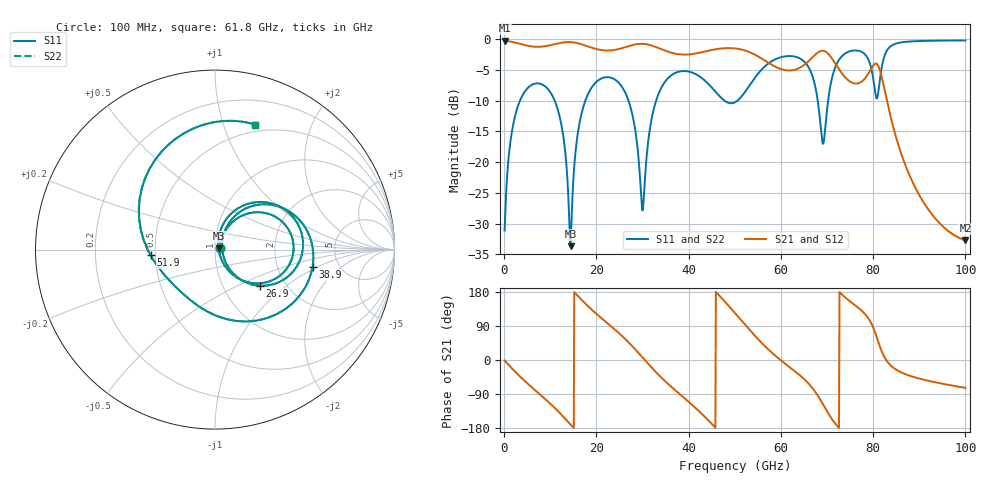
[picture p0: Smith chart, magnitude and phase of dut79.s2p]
! Touchstone file exported from HFSS 2026.1.0
!  File:  C:/ffzhzh/LocalFiles/Ansys_Project_Files/temp_train_TSV_RDL_79_1783628966_33328.aedt
!  Generated:  04:37:04 AM Jul 10, 2026
!  Design:  TSV_RDL
!  Project:  temp_train_TSV_RDL_79_1783628966_33328
! Variables:
!  h_bsmrdl = 2.93um
!  h_ox = 20um
!  h_rdl = 5um
!  h_sub = 85.85um
!  h_tmrdl = 2.94um
!  h_tsv = 85.85um
!  h_via = 3um
!  l_bsmrdl = 584.94um
!  l_sub = 3473.23um
!  l_tmrdl = 307.35um
!  m_sub = 200um
!  pitch = 41.18um
!  r_tsv = 14.24um
!  s_tmrdl = 10um
!  w_bsmrdl = 14.1um
!  w_sub = 500um
!  w_tmrdl = 15.57um
!  x_tsv_center1 = 315.135um
!  x_tsv_center2 = 914.175um
!  x_tsv_center3 = 1237.095um
!  x_tsv_center4 = 1836.135um
!  x_tsv_center5 = 2159.055um
!  x_tsv_center6 = 2758.095um
# GHz S MA R 50.000000
! Terminal data exported
! Port[1] = TM_RDL1_1_T1
! Port[2] = TM_RDL5_1_T1
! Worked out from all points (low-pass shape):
!   1000 points, 100 MHz to 100 GHz, reference 50 ohm
!   highest |S21| = -0.22 dB at 100 MHz (marker M1); lowest = -32.7 dB at 100 GHz (marker M2)
!   |S21| within 3 dB of the highest: start of sweep to 56.02 GHz; 66.46 GHz to 71.16 GHz (4.699 GHz wide, 6.83 % of centre)
!   lowest |S11| = -33.7 dB at 14.4 GHz (marker M3), VSWR 1.04, Z = 52 + j0.68 ohm
!   |S11| at or under -10 dB: start of sweep to 3.424 GHz; 10.96 GHz to 17.59 GHz (6.633 GHz wide, 46.5 % of centre); 26.97 GHz to 32.94 GHz (5.972 GHz wide, 19.9 % of centre) (the widest 3 of 5)
!   |S22| runs from -33.9 to -0.2 dB; largest |S21 - S12| = 1.6e-14
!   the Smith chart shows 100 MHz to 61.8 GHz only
!   S11 on the Smith chart (normalised r, x): 100 MHz: 1.05, +0.02; 26.9 GHz: 1.49, -0.67; 38.9 GHz: 3.20, -0.88; 51.9 GHz: 0.47, -0.03; 61.8 GHz: 0.43, +1.28
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0.1  0.02777 23.9  0.9748 -1.4  0.9748 -1.4  0.02777 23.9
! Gamma 0 0 0 0
! Port Impedance 50 0 50 0
2.4  0.2403 51.6  0.9399 -31.1  0.9399 -31.1  0.2403 51.6
7.3  0.4381 1.6  0.8689 -85.9  0.8689 -85.9  0.4381 1.5
12  0.2377 -47.4  0.9311 -139.0  0.9311 -139.0  0.2376 -47.5
14.4  0.02075 18.4  0.9496 -170.2  0.9496 -170.2  0.02029 18.7
16.8  0.2505 62.3  0.911 158.6  0.911 158.6  0.2505 62.4
26.9  0.3215 -38.7  0.878 47.5  0.878 47.5  0.3216 -38.8
30  0.04043 4.7  0.9189 6.7  0.9189 6.7  0.0398 4.4
33.4  0.3544 45.2  0.8509 -38.3  0.8509 -38.3  0.3541 45.3
38.9  0.5519 -10.0  0.7511 -98.7  0.7511 -98.7  0.5516 -9.8
45.5  0.3867 -82.6  0.8255 -174.8  0.8255 -174.8  0.3866 -82.2
50.1  0.3082 -147.7  0.8423 123.0  0.8423 123.0  0.3081 -147.1
51.9  0.3596 -174.9  0.8179 97.8  0.8179 97.8  0.3595 -174.3
56.2  0.5863 127.1  0.6833 40.5  0.6833 40.5  0.5863 127.4
61.8  0.7311 72.0  0.5576 -17.9  0.5576 -17.9  0.7312 72.2
66.7  0.5196 27.7  0.7047 -71.9  0.7047 -71.9  0.52 27.9
69.1  0.1414 56.8  0.8075 -116.3  0.8075 -116.3  0.1435 56.9
71.2  0.505 97.0  0.6862 -158.3  0.6862 -158.3  0.5055 96.8
75  0.8005 62.2  0.4529 154.7  0.4529 154.7  0.8006 62.1
80.1  0.4577 27.8  0.6176 83.2  0.6176 83.2  0.4562 27.6
83.4  0.8506 63.8  0.2708 -9.1  0.2708 -9.1  0.8504 63.9
100  0.9789 15.1  0.02313 -73.6  0.02313 -73.6  0.979 15.2
